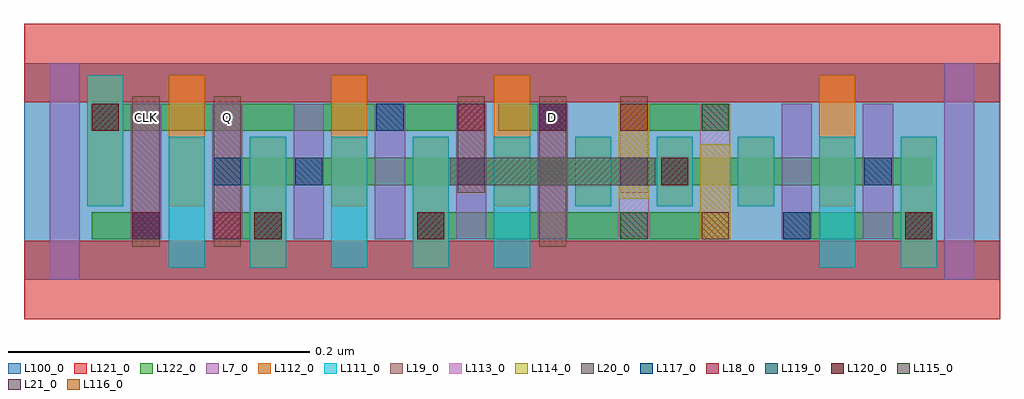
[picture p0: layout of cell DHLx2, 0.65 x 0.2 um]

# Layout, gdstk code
import gdstk
lib = gdstk.Library(unit=1e-6, precision=2.5e-10)
def R(c, l, rs):  # rectangles x0, y0, x1, y1
    for r in rs: c.add(gdstk.rectangle(r[:2], r[2:], *l))
def A(c, l, x, y, w, h, nx, ny, dx, dy):  # array of equal rectangles
    R(c, l, [(x+i*dx, y+j*dy, x+i*dx+w, y+j*dy+h) for i in range(nx) for j in range(ny)])
L7_0 = (7, 0)
L18_0 = (18, 0)
L19_0 = (19, 0)
L20_0 = (20, 0)
L21_0 = (21, 0)
L100_0 = (100, 0)
L111_0 = (111, 0)
L112_0 = (112, 0)
L113_0 = (113, 0)
L114_0 = (114, 0)
L115_0 = (115, 0)
L116_0 = (116, 0)
L117_0 = (117, 0)
L119_0 = (119, 0)
L120_0 = (120, 0)
L121_0 = (121, 0)
L122_0 = (122, 0)

dhlx2 = lib.new_cell('DHLx2')
A(dhlx2, L7_0, 0.071, 0.027, 0.02, 0.09, 6, 1, 0.054, 0)
R(dhlx2, L7_0, [(0.017,0,0.037,0.144), (0.611,0,0.631,0.144), (0.503,0.027,0.523,0.117), (0.557,0.027,0.577,0.117)])
A(dhlx2, L18_0, 0.288, 0.099, 0.018, 0.018, 3, 1, 0.054, 0)
R(dhlx2, L18_0, [(0.072,0.027,0.09,0.045), (0.126,0.027,0.144,0.045)])
R(dhlx2, L19_0, [(0.072,0.022,0.09,0.122), (0.126,0.022,0.144,0.122), (0.342,0.022,0.36,0.122), (0.288,0.058,0.306,0.122), (0.396,0.058,0.414,0.122)])
R(dhlx2, L20_0, [(0.283,0.063,0.419,0.081)])
R(dhlx2, L21_0, [(0.288,0.063,0.306,0.081), (0.396,0.063,0.414,0.081)])
R(dhlx2, L100_0, [(0,0,0.648,0.144)])
A(dhlx2, L111_0, 0.096, 0.008, 0.024, 0.087, 5, 1, 0.054, 0)
A(dhlx2, L111_0, 0.366, 0.049, 0.024, 0.046, 3, 1, 0.054, 0)
R(dhlx2, L111_0, [(0.528,0.008,0.552,0.095), (0.582,0.008,0.606,0.095), (0.042,0.049,0.066,0.136)])
A(dhlx2, L112_0, 0.096, 0.049, 0.024, 0.087, 3, 1, 0.108, 0)
A(dhlx2, L112_0, 0.366, 0.049, 0.024, 0.046, 3, 1, 0.054, 0)
R(dhlx2, L112_0, [(0.15,0.008,0.174,0.095), (0.258,0.008,0.282,0.095), (0.582,0.008,0.606,0.095), (0.042,0.049,0.066,0.136), (0.528,0.049,0.552,0.136)])
R(dhlx2, L113_0, [(0.395,0.027,0.415,0.117), (0.449,0.027,0.469,0.117)])
R(dhlx2, L114_0, [(0.449,0.027,0.469,0.09), (0.395,0.054,0.415,0.117)])
R(dhlx2, L115_0, [(0.396,0.027,0.414,0.045), (0.45,0.099,0.468,0.117)])
R(dhlx2, L116_0, [(0.45,0.027,0.468,0.045), (0.396,0.099,0.414,0.117)])
R(dhlx2, L117_0, [(0.072,0.027,0.09,0.045), (0.504,0.027,0.522,0.045), (0.126,0.063,0.144,0.081), (0.18,0.063,0.198,0.081), (0.558,0.063,0.576,0.081), (0.234,0.099,0.252,0.117), (0.342,0.099,0.36,0.117)])
R(dhlx2, L119_0, [(0.153,0.027,0.171,0.045), (0.261,0.027,0.279,0.045), (0.585,0.027,0.603,0.045), (0.423,0.063,0.441,0.081), (0.045,0.099,0.063,0.117)])
R(dhlx2, L120_0, [(0.153,0.027,0.171,0.045), (0.261,0.027,0.279,0.045), (0.585,0.027,0.603,0.045), (0.423,0.063,0.441,0.081), (0.045,0.099,0.063,0.117)])
R(dhlx2, L121_0, [(0,-0.026,0.648,0.026), (0,0.118,0.648,0.17)])
R(dhlx2, L122_0, [(0.045,0.027,0.09,0.045), (0.126,0.027,0.171,0.045), (0.261,0.027,0.468,0.045), (0.504,0.027,0.603,0.045), (0.126,0.063,0.603,0.081), (0.045,0.099,0.306,0.117), (0.315,0.099,0.36,0.117), (0.396,0.099,0.468,0.117)])
dhlx2.add(gdstk.Label('Q', (0.135,0.108), layer=19, texttype=251))
dhlx2.add(gdstk.Label('D', (0.351,0.108), layer=19, texttype=251))
dhlx2.add(gdstk.Label('CLK', (0.081,0.108), layer=19, texttype=251))

lib.write_gds('DHLx2.gds')
